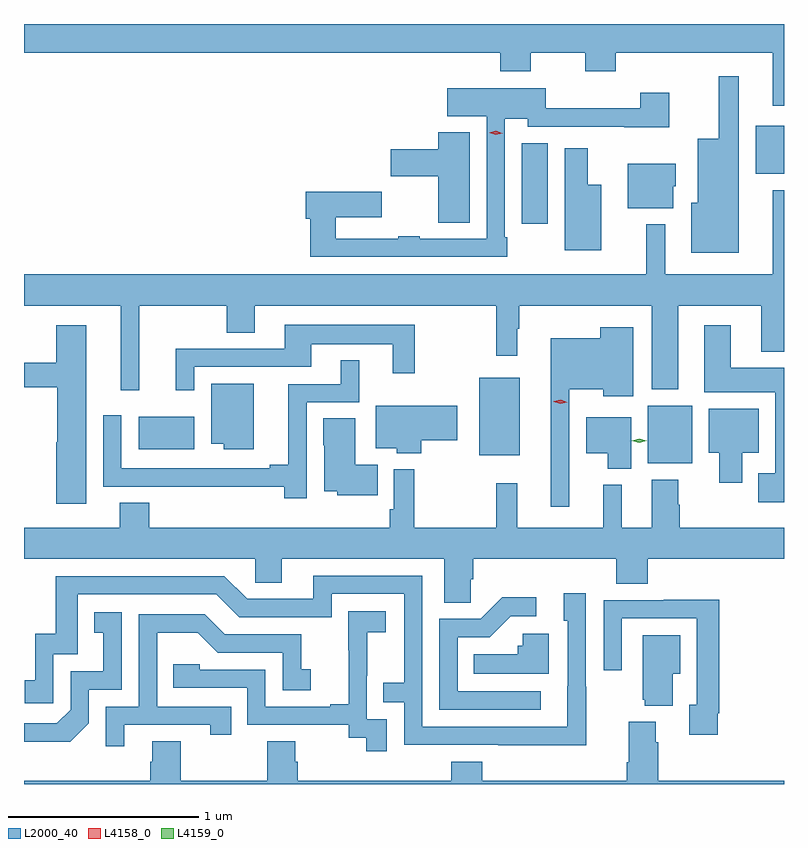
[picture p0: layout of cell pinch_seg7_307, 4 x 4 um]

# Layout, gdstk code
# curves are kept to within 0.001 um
import gdstk
lib = gdstk.Library(unit=1e-6, precision=1e-09)
def R(c, l, rs):  # rectangles x0, y0, x1, y1
    for r in rs: c.add(gdstk.rectangle(r[:2], r[2:], *l))
def P(c, l, *ps):  # polygons
    for p in ps: c.add(gdstk.Polygon(p, *l))
L2000_40 = (2000, 40)
L4158_0 = (4158, 0)
L4159_0 = (4159, 0)

pinch_seg7_307 = lib.new_cell('pinch_seg7_307')
R(pinch_seg7_307, L2000_40, [(588.488,1054.397,588.721,1054.702), (587.6,1054.439,587.815,1054.849), (585.809,1054.472,586.102,1054.642), (587.825,1055.658,587.962,1056.083), (589.055,1055.921,589.205,1056.175)])
P(pinch_seg7_307, L2000_40, [(589.205,1056.71),(585.205,1056.71),(585.205,1056.56),(587.711,1056.56),(587.711,1056.461),(587.871,1056.461),(587.871,1056.56),(588.16,1056.56),(588.16,1056.461),(588.32,1056.461),(588.32,1056.56),(589.145,1056.56),(589.145,1056.279),(589.205,1056.279)],
  [(588.967,1056.436),(588.861,1056.436),(588.861,1056.106),(588.752,1056.106),(588.752,1055.77),(588.716,1055.77),(588.716,1055.507),(588.967,1055.507)],
  [(587.749,1055.587),(587.736,1055.587),(587.736,1056.212),(587.856,1056.212),(587.856,1056.168),(588.365,1056.168),(588.365,1056.167),(588.601,1056.167),(588.601,1056.349),(588.449,1056.349),(588.449,1056.266),(587.952,1056.266),(587.952,1056.373),(587.433,1056.373),(587.433,1056.224),(587.64,1056.224),(587.64,1055.58),(587.288,1055.58),(587.288,1055.593),(587.176,1055.593),(587.176,1055.58),(586.847,1055.58),(586.847,1055.693),(587.089,1055.693),(587.089,1055.828),(586.688,1055.828),(586.688,1055.686),(586.711,1055.686),(586.711,1055.484),(587.749,1055.484)],
  [(587.551,1056.139),(587.384,1056.139),(587.384,1056.05),(587.136,1056.05),(587.136,1055.908),(587.384,1055.908),(587.384,1055.665),(587.551,1055.665)],
  [(588.244,1055.863),(588.172,1055.863),(588.172,1056.055),(588.05,1056.055),(588.05,1055.519),(588.244,1055.519)],
  [(588.622,1055.856),(588.634,1055.856),(588.634,1055.974),(588.383,1055.974),(588.383,1055.741),(588.622,1055.741)],
  [(585.812,1055.228),(586.273,1055.228),(586.273,1055.086),(586.42,1055.086),(586.42,1055.228),(587.691,1055.228),(587.691,1054.965),(587.8,1054.965),(587.8,1055.105),(587.812,1055.105),(587.812,1055.228),(588.509,1055.228),(588.509,1054.787),(588.649,1054.787),(588.649,1055.228),(589.085,1055.228),(589.085,1054.985),(589.205,1054.985),(589.205,1055.836),(589.145,1055.836),(589.145,1055.392),(588.58,1055.392),(588.58,1055.656),(588.481,1055.656),(588.481,1055.392),(585.205,1055.392),(585.205,1055.228),(585.713,1055.228),(585.713,1054.782),(585.812,1054.782)],
  [(586.101,1054.905),(586.717,1054.905),(586.717,1055.024),(587.147,1055.024),(587.147,1054.872),(587.261,1054.872),(587.261,1055.128),(586.577,1055.128),(586.577,1055.001),(586.004,1055.001),(586.004,1054.782),(586.101,1054.782)],
  [(585.532,1055.125),(585.374,1055.125),(585.374,1054.927),(585.205,1054.927),(585.205,1054.798),(585.379,1054.798),(585.379,1054.509),(585.374,1054.509),(585.374,1054.185),(585.532,1054.185)],
  [(589.205,1054.9),(588.925,1054.9),(588.925,1055.125),(588.785,1055.125),(588.785,1054.772),(589.16,1054.772),(589.16,1054.345),(589.07,1054.345),(589.07,1054.193),(589.205,1054.193)],
  [(588.075,1054.787),(588.254,1054.787),(588.254,1054.751),(588.412,1054.751),(588.412,1055.113),(588.237,1055.113),(588.237,1055.056),(587.978,1055.056),(587.978,1054.17),(588.075,1054.17)],
  [(586.692,1054.719),(586.969,1054.719),(586.969,1054.939),(586.871,1054.939),(586.871,1054.815),(586.595,1054.815),(586.595,1054.391),(586.499,1054.391),(586.499,1054.371),(585.717,1054.371),(585.717,1054.651),(585.621,1054.651),(585.621,1054.275),(585.946,1054.275),(585.946,1054.274),(586.576,1054.274),(586.576,1054.215),(586.692,1054.215)],
  [(586.414,1054.816),(586.19,1054.816),(586.19,1054.502),(586.256,1054.502),(586.256,1054.472),(586.414,1054.472)],
  [(587.295,1054.519),(587.485,1054.519),(587.485,1054.702),(587.057,1054.702),(587.057,1054.478),(587.166,1054.478),(587.166,1054.451),(587.295,1054.451)],
  [(588.985,1054.454),(589.072,1054.454),(589.072,1054.684),(588.809,1054.684),(588.809,1054.454),(588.863,1054.454),(588.863,1054.296),(588.985,1054.296)],
  [(588.4,1054.639),(588.164,1054.639),(588.164,1054.451),(588.278,1054.451),(588.278,1054.37),(588.4,1054.37)],
  [(587.066,1054.39),(586.948,1054.39),(586.948,1054.634),(586.781,1054.634),(586.781,1054.494),(586.784,1054.494),(586.784,1054.25),(586.854,1054.25),(586.854,1054.229),(587.066,1054.229)],
  [(587.556,1053.787),(587.57,1053.787),(587.57,1053.896),(588.323,1053.896),(588.323,1053.763),(588.488,1053.763),(588.488,1053.896),(589.205,1053.896),(589.205,1054.06),(588.657,1054.06),(588.657,1054.181),(588.649,1054.181),(588.649,1054.312),(588.509,1054.312),(588.509,1054.06),(588.352,1054.06),(588.352,1054.285),(588.254,1054.285),(588.254,1054.06),(587.801,1054.06),(587.801,1054.294),(587.691,1054.294),(587.691,1054.06),(587.26,1054.06),(587.26,1054.366),(587.151,1054.366),(587.151,1054.156),(587.131,1054.156),(587.131,1054.06),(585.863,1054.06),(585.863,1054.19),(585.71,1054.19),(585.71,1054.06),(585.205,1054.06),(585.205,1053.896),(586.422,1053.896),(586.422,1053.769),(586.561,1053.769),(586.561,1053.896),(587.417,1053.896),(587.417,1053.664),(587.556,1053.664)],
  [(588.165,1053.221),(588.162,1053.221),(588.162,1053.715),(588.047,1053.715),(588.047,1053.57),(588.066,1053.57),(588.065,1053.012),(587.301,1053.012),(587.301,1053.807),(586.727,1053.807),(586.727,1053.684),(586.38,1053.684),(586.26,1053.804),(585.373,1053.804),(585.373,1053.502),(585.263,1053.502),(585.263,1053.255),(585.21,1053.255),(585.21,1053.135),(585.36,1053.135),(585.36,1053.393),(585.489,1053.393),(585.489,1053.708),(586.218,1053.708),(586.338,1053.588),(586.824,1053.588),(586.824,1053.711),(587.205,1053.711),(587.205,1053.242),(587.095,1053.242),(587.095,1053.141),(587.205,1053.141),(587.205,1052.916),(588.165,1052.915)],
  [(587.926,1053.198),(587.487,1053.198),(587.487,1053.483),(587.656,1053.483),(587.767,1053.594),(587.902,1053.594),(587.902,1053.692),(587.723,1053.692),(587.61,1053.579),(587.391,1053.579),(587.391,1053.102),(587.926,1053.102)],
  [(588.856,1053.082),(588.863,1053.082),(588.863,1053.68),(588.571,1053.68),(588.571,1053.678),(588.255,1053.678),(588.255,1053.309),(588.351,1053.309),(588.351,1053.582),(588.747,1053.582),(588.747,1053.126),(588.707,1053.126),(588.707,1052.97),(588.856,1052.97)],
  [(587.115,1053.051),(587.01,1053.051),(587.01,1053.281),(587.012,1053.281),(587.012,1053.509),(587.11,1053.509),(587.11,1053.619),(586.912,1053.619),(586.912,1053.413),(586.913,1053.413),(586.913,1053.13),(586.817,1053.13),(586.817,1053.117),(586.476,1053.117),(586.476,1053.312),(586.131,1053.312),(586.131,1053.339),(585.991,1053.339),(585.991,1053.216),(586.38,1053.216),(586.38,1053.021),(586.914,1053.021),(586.914,1052.953),(587.007,1052.953),(587.007,1052.883),(587.115,1052.883)],
  [(585.546,1053.03),(585.546,1053.207),(585.72,1053.207),(585.72,1053.613),(585.574,1053.613),(585.574,1053.507),(585.623,1053.507),(585.623,1053.303),(585.45,1053.303),(585.45,1053.102),(585.378,1053.03),(585.205,1053.03),(585.205,1052.933),(585.448,1052.933)],
  [(585.733,1053.021),(586.184,1053.021),(586.184,1052.97),(586.295,1052.97),(586.295,1053.117),(585.906,1053.117),(585.906,1053.506),(586.12,1053.506),(586.224,1053.402),(586.566,1053.402),(586.566,1053.204),(586.714,1053.204),(586.714,1053.313),(586.665,1053.313),(586.665,1053.498),(586.261,1053.498),(586.156,1053.603),(585.81,1053.603),(585.81,1053.117),(585.636,1053.117),(585.636,1052.91),(585.733,1052.91)],
  [(587.968,1053.502),(587.829,1053.502),(587.829,1053.438),(587.803,1053.438),(587.803,1053.394),(587.572,1053.394),(587.572,1053.29),(587.968,1053.29)],
  [(588.619,1053.29),(588.658,1053.29),(588.658,1053.493),(588.461,1053.493),(588.461,1053.153),(588.473,1053.153),(588.473,1053.122),(588.619,1053.122)],
  [(589.205,1052.728),(588.542,1052.728),(588.542,1052.93),(588.529,1052.93),(588.529,1053.037),(588.389,1053.037),(588.389,1052.824),(588.377,1052.824),(588.377,1052.728),(587.618,1052.728),(587.618,1052.827),(587.453,1052.827),(587.453,1052.728),(586.646,1052.728),(586.646,1052.826),(586.633,1052.826),(586.633,1052.936),(586.486,1052.936),(586.486,1052.728),(586.029,1052.728),(586.029,1052.936),(585.881,1052.936),(585.881,1052.826),(585.869,1052.826),(585.869,1052.728),(585.205,1052.728),(585.205,1052.71),(589.205,1052.71)])
P(pinch_seg7_307, L4158_0, [(588.028,1054.712),(587.993,1054.723),(587.993,1054.724),(587.993,1054.724),(588.029,1054.732),(588.064,1054.72),(588.065,1054.72),(588.064,1054.72)],
  [(587.688,1056.127),(587.654,1056.138),(587.654,1056.138),(587.654,1056.138),(587.689,1056.147),(587.723,1056.136),(587.724,1056.135),(587.723,1056.135)])
P(pinch_seg7_307, L4159_0, [(588.443,1054.506),(588.404,1054.516),(588.404,1054.516),(588.404,1054.517),(588.443,1054.526),(588.482,1054.517),(588.482,1054.516),(588.482,1054.516)])

lib.write_gds('pinch_seg7_307.gds')
